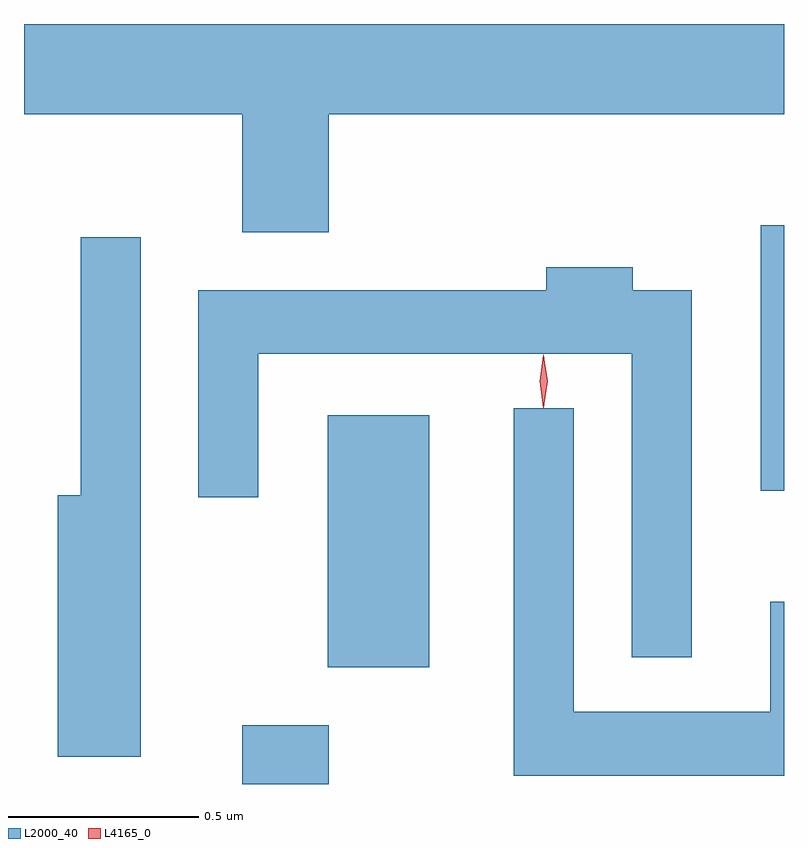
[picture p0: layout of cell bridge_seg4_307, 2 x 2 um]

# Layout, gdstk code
import gdstk
lib = gdstk.Library(unit=1e-6, precision=1e-09)
def R(c, l, rs):  # rectangles x0, y0, x1, y1
    for r in rs: c.add(gdstk.rectangle(r[:2], r[2:], *l))
def P(c, l, *ps):  # polygons
    for p in ps: c.add(gdstk.Polygon(p, *l))
L2000_40 = (2000, 40)
L4165_0 = (4165, 0)

bridge_seg4_307 = lib.new_cell('bridge_seg4_307')
R(bridge_seg4_307, L2000_40, [(515.851,1315.174,516.079,1315.329), (516.076,1315.481,516.344,1316.144), (517.216,1315.946,517.277,1316.644)])
P(bridge_seg4_307, L2000_40, [(516.079,1316.936),(517.277,1316.936),(517.277,1317.174),(515.277,1317.174),(515.277,1316.936),(515.851,1316.936),(515.851,1316.626),(516.079,1316.626)],
  [(515.584,1316.613),(515.426,1316.613),(515.426,1315.934),(515.366,1315.934),(515.366,1315.246),(515.584,1315.246)],
  [(517.034,1316.474),(516.879,1316.474),(516.879,1316.534),(516.651,1316.534),(516.651,1316.474),(515.736,1316.474),(515.736,1315.928),(515.894,1315.928),(515.894,1316.306),(516.876,1316.306),(516.876,1315.508),(517.034,1315.508)],
  [(517.277,1315.654),(517.241,1315.654),(517.241,1315.364),(516.724,1315.364),(516.724,1316.163),(516.566,1316.163),(516.566,1315.196),(517.277,1315.196)])
P(bridge_seg4_307, L4165_0, [(516.644,1316.167),(516.635,1316.234),(516.644,1316.3),(516.645,1316.3),(516.645,1316.3),(516.655,1316.234),(516.645,1316.167),(516.645,1316.167)],
  [(516.644,1316.164),(516.644,1316.164),(516.634,1316.234),(516.644,1316.302),(516.644,1316.303),(516.645,1316.302),(516.654,1316.234),(516.645,1316.164)])

lib.write_gds('bridge_seg4_307.gds')
